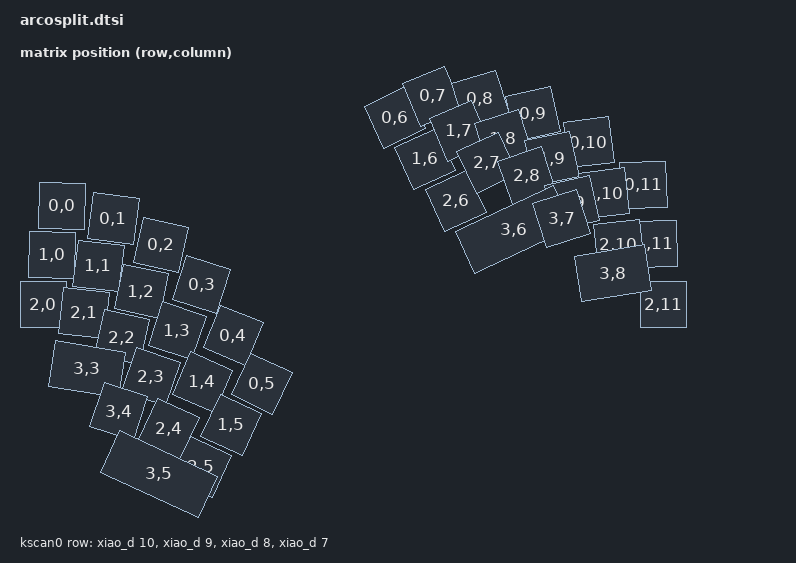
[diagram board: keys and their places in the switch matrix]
/*
 * Copyright (c) 2020 The ZMK Contributors
 *
 * SPDX-License-Identifier: MIT
 */

#include <dt-bindings/zmk/matrix_transform.h>
#include <physical_layouts.dtsi>

/ {
    chosen {
        zmk,physical-layout = &arco_split_physical_layout;
    };

    arco_split_physical_layout: arco_split_physical_layout {
        compatible = "zmk,physical-layout";
        display-name = "Default";

        kscan = <&kscan0>;
        transform = <&default_transform>;

        keys  //                     w   h    x    y     rot    rx    ry
            = <&key_physical_attrs 100 100   40    0     191     0     0>
            , <&key_physical_attrs 100 100  149    4     704     0     0>
            , <&key_physical_attrs 100 100  257   18    1217     0     0>
            , <&key_physical_attrs 100 100  363   41    1730     0     0>
            , <&key_physical_attrs 100 100  467   74    2243     0     0>
            , <&key_physical_attrs 100 100  564  114    2500     0     0>
            , <&key_physical_attrs 100 100  685  156 (-2500)     0     0>
            , <&key_physical_attrs 100 100  780  112 (-2243)     0     0>
            , <&key_physical_attrs 100 100  881   71 (-1730)     0     0>
            , <&key_physical_attrs 100 100  985   39 (-1217)     0     0>
            , <&key_physical_attrs 100 100 1092   16  (-704)     0     0>
            , <&key_physical_attrs 100 100 1200    3  (-191)     0     0>
            , <&key_physical_attrs 100 100   20  100     105     0     0>
            , <&key_physical_attrs 100 100  130  103     668     0     0>
            , <&key_physical_attrs 100 100  239  116    1232     0     0>
            , <&key_physical_attrs 100 100  346  140    1796     0     0>
            , <&key_physical_attrs 100 100  450  174    2359     0     0>
            , <&key_physical_attrs 100 100  544  215    2500     0     0>
            , <&key_physical_attrs 100 100  705  257 (-2500)     0     0>
            , <&key_physical_attrs 100 100  798  214 (-2359)     0     0>
            , <&key_physical_attrs 100 100  899  171 (-1796)     0     0>
            , <&key_physical_attrs 100 100 1003  137 (-1232)     0     0>
            , <&key_physical_attrs 100 100 1111  114  (-668)     0     0>
            , <&key_physical_attrs 100 100 1220  102  (-105)     0     0>
            , <&key_physical_attrs 100 100    0  200       0     0     0>
            , <&key_physical_attrs 100 100  111  201     625     0     0>
            , <&key_physical_attrs 100 100  221  213    1250     0     0>
            , <&key_physical_attrs 100 100  329  238    1875     0     0>
            , <&key_physical_attrs 100 100  434  274    2500     0     0>
            , <&key_physical_attrs 100 100  525  316    2500     0     0>
            , <&key_physical_attrs 100 100  725  359 (-2500)     0     0>
            , <&key_physical_attrs 100 100  815  316 (-2500)     0     0>
            , <&key_physical_attrs 100 100  916  270 (-1875)     0     0>
            , <&key_physical_attrs 100 100 1021  235 (-1250)     0     0>
            , <&key_physical_attrs 100 100 1130  211  (-625)     0     0>
            , <&key_physical_attrs 100 100 1240  200       0     0     0>
            , <&key_physical_attrs 150 100  122  302     922     0     0>
            , <&key_physical_attrs 100 100  285  329    1799     0     0>
            , <&key_physical_attrs 225 100  392  365    2500     0     0>
            , <&key_physical_attrs 225 100  744  460 (-2500)     0     0>
            , <&key_physical_attrs 100 100  960  360 (-1799)     0     0>
            , <&key_physical_attrs 150 100 1070  326  (-922)     0     0>
            ;
    };

    default_transform: keymap_transform_0 {
                       compatible = "zmk,matrix-transform";
                       columns = <12>;
                       rows = <4>;
                       // | SW1  | SW2  | SW3  | SW4  | SW5  | SW6  |   | SW1  | SW2  | SW3  | SW4  | SW5  | SW6  |
                       // | SW7  | SW8  | SW9  | SW10 | SW11 | SW12 |   | SW7  | SW8  | SW9  | SW10 | SW11 | SW12 |
                       // | SW13 | SW14 | SW15 | SW16 | SW17 | SW18 |   | SW13 | SW14 | SW15 | SW16 | SW17 | SW18 |
                       //                      | SW19 | SW20 | SW21 |   | SW19 | SW20 | SW21 |
                       map = <
                           RC(0,0) RC(0,1) RC(0,2) RC(0,3) RC(0,4) RC(0,5) RC(0,6) RC(0,7) RC(0,8) RC(0,9) RC(0,10) RC(0,11)
                           RC(1,0) RC(1,1) RC(1,2) RC(1,3) RC(1,4) RC(1,5) RC(1,6) RC(1,7) RC(1,8) RC(1,9) RC(1,10) RC(1,11)
                           RC(2,0) RC(2,1) RC(2,2) RC(2,3) RC(2,4) RC(2,5) RC(2,6) RC(2,7) RC(2,8) RC(2,9) RC(2,10) RC(2,11)
                                                   RC(3,3) RC(3,4) RC(3,5) RC(3,6) RC(3,7) RC(3,8)
                           >;
                   };

    kscan0: kscan_0 {
            compatible = "zmk,kscan-gpio-matrix";
            label = "KSCAN";

            diode-direction = "col2row";
            wakeup-source;
            row-gpios
                = <&xiao_d  10 (GPIO_ACTIVE_HIGH | GPIO_PULL_DOWN)>
                , <&xiao_d  9 (GPIO_ACTIVE_HIGH | GPIO_PULL_DOWN)>
                , <&xiao_d  8 (GPIO_ACTIVE_HIGH | GPIO_PULL_DOWN)>
                , <&xiao_d  7 (GPIO_ACTIVE_HIGH | GPIO_PULL_DOWN)>
                ;
        };
};

&xiao_spi { status = "disabled"; };
&xiao_i2c { status = "disabled"; };
&xiao_serial { status = "disabled"; };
